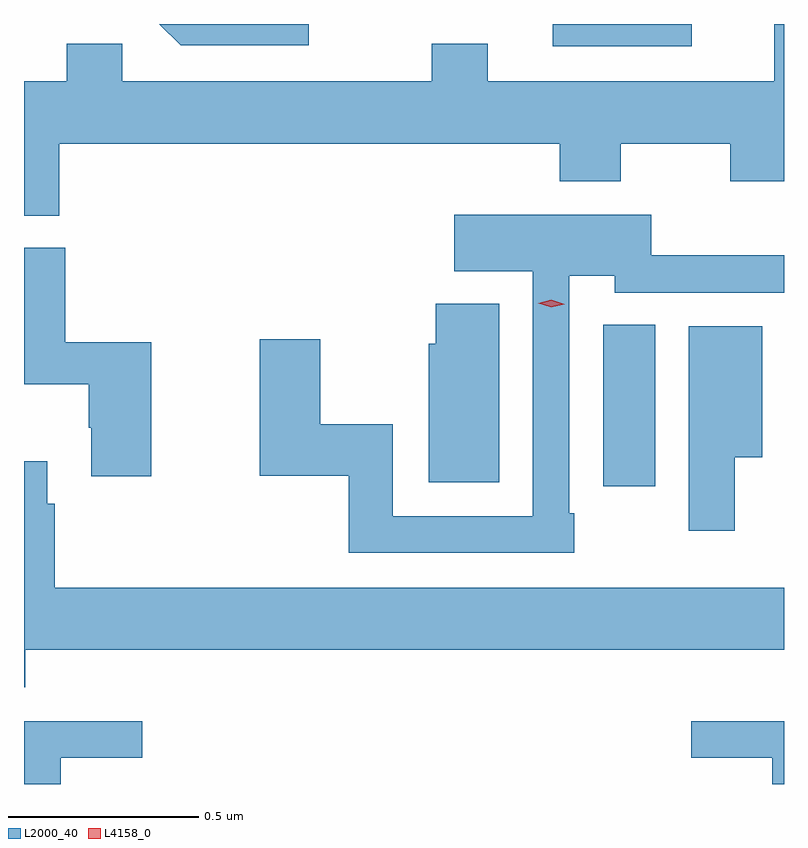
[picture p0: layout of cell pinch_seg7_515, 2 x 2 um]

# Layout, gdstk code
import gdstk
lib = gdstk.Library(unit=1e-6, precision=1e-09)
def R(c, l, rs):  # rectangles x0, y0, x1, y1
    for r in rs: c.add(gdstk.rectangle(r[:2], r[2:], *l))
def P(c, l, *ps):  # polygons
    for p in ps: c.add(gdstk.Polygon(p, *l))
L2000_40 = (2000, 40)
L4158_0 = (4158, 0)

pinch_seg7_515 = lib.new_cell('pinch_seg7_515')
R(pinch_seg7_515, L2000_40, [(231.737,1079.634,231.874,1080.059), (231.605,1080.792,231.97,1080.851)])
P(pinch_seg7_515, L2000_40, [(230.306,1080.536),(231.623,1080.536),(231.623,1080.437),(231.783,1080.437),(231.783,1080.536),(232.072,1080.536),(232.072,1080.437),(232.213,1080.437),(232.213,1080.851),(232.187,1080.851),(232.187,1080.7),(231.433,1080.7),(231.433,1080.799),(231.286,1080.799),(231.286,1080.7),(230.472,1080.7),(230.472,1080.799),(230.326,1080.799),(230.326,1080.7),(230.213,1080.7),(230.213,1080.347),(230.306,1080.347)],
  [(230.962,1080.851),(230.569,1080.851),(230.625,1080.795),(230.962,1080.795)],
  [(231.661,1079.563),(231.648,1079.563),(231.648,1080.188),(231.768,1080.188),(231.768,1080.144),(232.213,1080.144),(232.213,1080.242),(231.864,1080.242),(231.864,1080.349),(231.345,1080.349),(231.345,1080.2),(231.552,1080.2),(231.552,1079.556),(231.183,1079.556),(231.183,1079.798),(230.992,1079.798),(230.992,1080.022),(230.834,1080.022),(230.834,1079.662),(231.067,1079.662),(231.067,1079.46),(231.661,1079.46)],
  [(230.548,1080.013),(230.321,1080.013),(230.321,1080.262),(230.213,1080.262),(230.213,1079.903),(230.383,1079.903),(230.383,1079.788),(230.39,1079.788),(230.39,1079.661),(230.548,1079.661)],
  [(231.463,1080.115),(231.296,1080.115),(231.296,1080.009),(231.278,1080.009),(231.278,1079.645),(231.463,1079.645)],
  [(232.084,1079.711),(232.156,1079.711),(232.156,1080.055),(231.962,1080.055),(231.962,1079.517),(232.084,1079.517)],
  [(230.216,1079.204),(232.213,1079.204),(232.213,1079.368),(230.294,1079.368),(230.294,1079.588),(230.274,1079.588),(230.274,1079.701),(230.213,1079.701),(230.213,1079.105),(230.216,1079.105)],
  [(232.213,1079.016),(231.969,1079.016),(231.969,1078.92),(232.182,1078.92),(232.182,1078.851),(232.213,1078.851)],
  [(230.31,1078.92),(230.524,1078.92),(230.524,1079.016),(230.213,1079.016),(230.213,1078.851),(230.31,1078.851)])
P(pinch_seg7_515, L4158_0, [(231.6,1080.105),(231.566,1080.116),(231.566,1080.116),(231.566,1080.116),(231.601,1080.125),(231.636,1080.114),(231.636,1080.114),(231.636,1080.113)])

lib.write_gds('pinch_seg7_515.gds')
